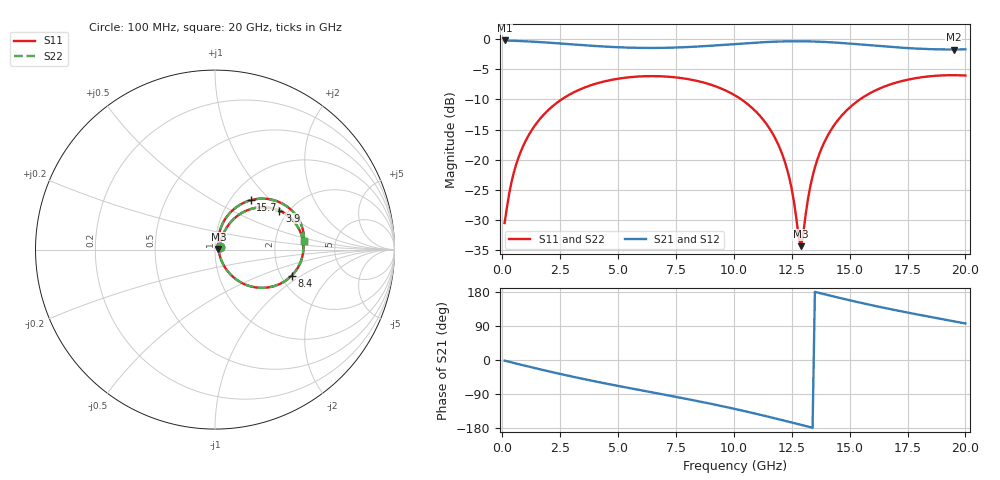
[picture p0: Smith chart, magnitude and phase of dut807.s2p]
! Touchstone file exported from HFSS 2026.1.0
!  File:  C:/ffzhzh/LocalFiles/Ansys_Project_Files/temp_train_TSV_RDL_807_1783263709_30076.aedt
!  Generated:  11:12:02 PM Jul  5, 2026
!  Design:  TSV_RDL
!  Project:  temp_train_TSV_RDL_807_1783263709_30076
! Variables:
!  h_bsmrdl = 3.04um
!  h_ox = 20um
!  h_rdl = 5um
!  h_sub = 85.88um
!  h_tmrdl = 2.03um
!  h_tsv = 85.88um
!  h_via = 3um
!  l_bsmrdl = 446.78um
!  l_sub = 4230.15um
!  l_tmrdl = 587.18um
!  m_sub = 200um
!  pitch = 53.25um
!  r_tsv = 14.47um
!  s_tmrdl = 10um
!  w_bsmrdl = 25.27um
!  w_sub = 500um
!  w_tmrdl = 21.76um
!  x_tsv_center1 = 598.06um
!  x_tsv_center2 = 1070.11um
!  x_tsv_center3 = 1679.05um
!  x_tsv_center4 = 2151.1um
!  x_tsv_center5 = 2760.04um
!  x_tsv_center6 = 3232.09um
# GHz S MA R 50.000000
! Terminal data exported
! Port[1] = TM_RDL1_1_T1
! Port[2] = TM_RDL5_1_T1
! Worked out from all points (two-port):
!   200 points, 100 MHz to 20 GHz, reference 50 ohm
!   highest |S21| = -0.23 dB at 100 MHz (marker M1); lowest = -1.7 dB at 19.5 GHz (marker M2)
!   |S21| within 3 dB of the highest: start of sweep to end of sweep
!   lowest |S11| = -34.3 dB at 12.9 GHz (marker M3), VSWR 1.04, Z = 51.9 + j0.4 ohm
!   |S11| at or under -10 dB: start of sweep to 2.565 GHz; 10.32 GHz to 15.45 GHz (5.126 GHz wide, 39.8 % of centre)
!   |S22| runs from -34.3 to -6.0 dB; largest |S21 - S12| = 1.7e-14
!   S11 on the Smith chart (normalised r, x): 100 MHz: 1.05, +0.03; 3.9 GHz: 1.80, +0.95; 8.4 GHz: 2.27, -0.83; 15.7 GHz: 1.23, +0.77; 20 GHz: 2.93, +0.39
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0.1  0.02983 29.3  0.9743 -1.6  0.9743 -1.6  0.02983 29.3
! Gamma 0 0 0 0
! Port Impedance 50 0 50 0
0.5  0.07842 60.5  0.9685 -7.9  0.9685 -7.9  0.07842 60.5
1.2  0.1669 60.8  0.955 -18.3  0.955 -18.3  0.1669 60.8
2.2  0.2804 51.0  0.9288 -32.7  0.9288 -32.7  0.2804 51.0
3.5  0.3928 35.9  0.8902 -50.0  0.8902 -50.0  0.3928 35.9
3.9  0.4186 31.2  0.8794 -55.1  0.8794 -55.1  0.4186 31.2
6.8  0.4918 -1.0  0.8452 -89.2  0.8452 -89.2  0.4918 -1.0
8.4  0.4506 -18.9  0.8664 -108.0  0.8664 -108.0  0.4506 -18.9
10.1  0.3367 -39.3  0.9114 -129.9  0.9114 -129.9  0.3368 -39.3
11.2  0.2225 -52.8  0.9409 -145.4  0.9409 -145.4  0.2225 -52.7
12  0.1228 -60.4  0.9554 -157.3  0.9554 -157.3  0.1228 -60.3
12.5  0.05705 -57.2  0.9595 -164.9  0.9595 -164.9  0.0571 -57.1
12.8  0.02277 -24.2  0.9598 -169.5  0.9598 -169.5  0.02289 -24.0
12.9  0.01917 11.6  0.9595 -171.1  0.9595 -171.1  0.01931 11.6
13.2  0.04698 68.7  0.9577 -175.7  0.9577 -175.7  0.04704 68.6
13.4  0.07289 74.6  0.9555 -178.7  0.9555 -178.7  0.07293 74.4
13.8  0.1256 75.1  0.9492 175.2  0.9492 175.2  0.1256 75.0
14.3  0.1892 70.8  0.938 167.8  0.938 167.8  0.1892 70.7
15.7  0.3399 54.1  0.895 148.0  0.895 148.0  0.3399 54.1
16.7  0.4171 42.1  0.8634 135.0  0.8634 135.0  0.4171 42.1
19.5  0.5019 11.1  0.8198 102.1  0.8198 102.1  0.5019 11.1
20  0.4983 5.7  0.8216 96.4  0.8216 96.4  0.4983 5.7
